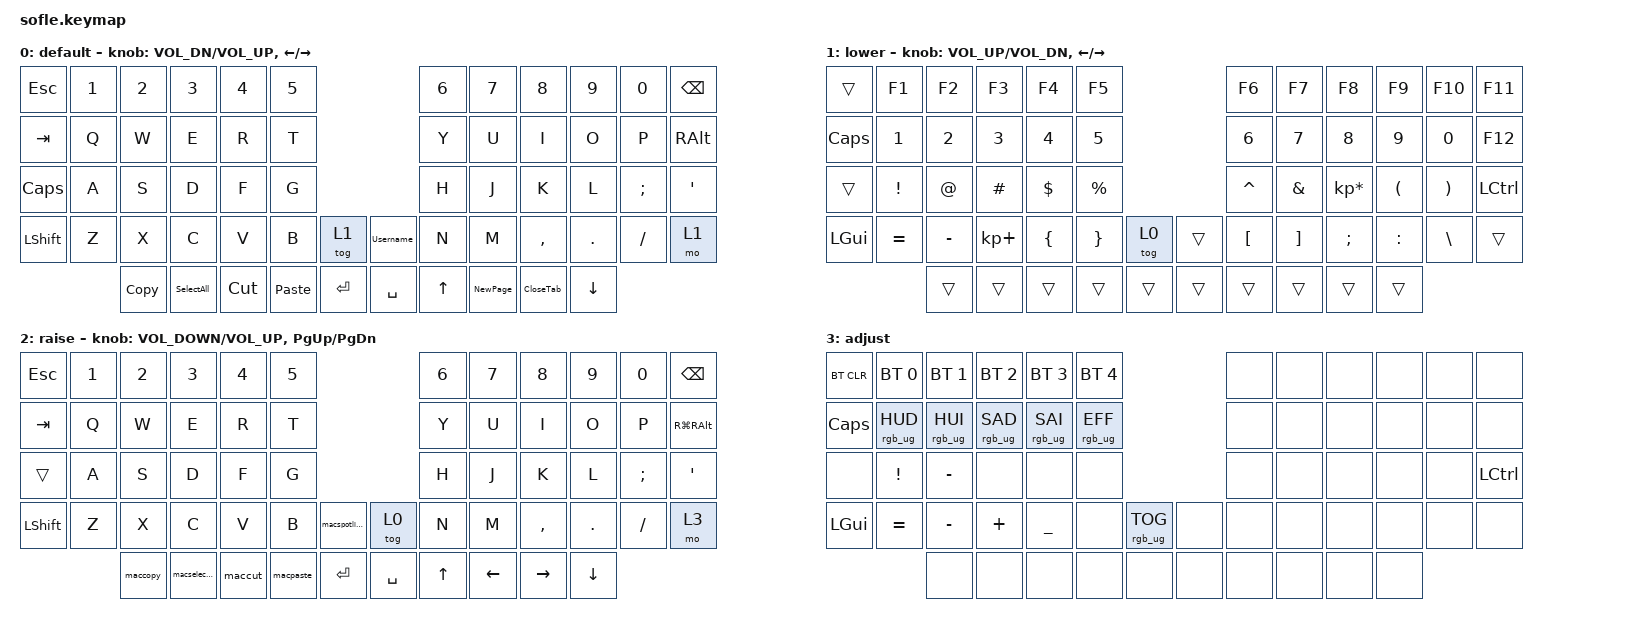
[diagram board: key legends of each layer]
/*
 * Copyright (c) 2020 The ZMK Contributors
 *
 * SPDX-License-Identifier: MIT
 */

#include <behaviors.dtsi>
#include <dt-bindings/zmk/bt.h>
#include <dt-bindings/zmk/keys.h>
#include <dt-bindings/zmk/rgb.h>

#define BASE 0
#define LOWER 1
#define RAISE 2
#define ADJUST 3

/ {
    // Activate ADJUST layer by pressing raise and lower

    conditional_layers { compatible = "zmk,conditional-layers"; };

    macros {
        Copy: Copy {
            compatible = "zmk,behavior-macro";
            #binding-cells = <0>;
            bindings = <&kp LC(C)>;
            label = "COPY";
        };

        Paste: Paste {
            compatible = "zmk,behavior-macro";
            #binding-cells = <0>;
            bindings = <&kp LC(V)>;
            label = "PASTE";
        };

        SelectAll: SelectAll {
            compatible = "zmk,behavior-macro";
            #binding-cells = <0>;
            bindings = <&kp LC(A)>;
            label = "SELECTALL";
        };

        Cut: Cut {
            compatible = "zmk,behavior-macro";
            #binding-cells = <0>;
            bindings = <&kp LC(X)>;
            label = "CUT";
        };

        NewPage: NewPage {
            compatible = "zmk,behavior-macro";
            #binding-cells = <0>;
            bindings = <&kp LC(T)>;
            label = "NEWPAGE";
        };

        CloseTab: CloseTab {
            compatible = "zmk,behavior-macro";
            #binding-cells = <0>;
            bindings = <&kp LC(W)>;
            label = "CLOSETAB";
        };

        Username: Username {
            compatible = "zmk,behavior-macro";
            #binding-cells = <0>;
            bindings = <&none &kp LS(R) &kp Y &kp A &kp N &kp DOT &kp LS(S) &kp O &kp B &kp R &kp A &kp S &kp K &kp E &kp AT &kp LS(F) &kp A &kp I &kp R &kp V &kp I &kp E &kp W &kp DOT &kp O &kp R &kp G>;
            label = "USERNAME";
        };

        maccopy: maccopy {
            compatible = "zmk,behavior-macro";
            #binding-cells = <0>;
            bindings = <&kp RG(C)>;
            label = "MACCOPY";
        };

        macselectall: macselectall {
            compatible = "zmk,behavior-macro";
            #binding-cells = <0>;
            bindings = <&kp LG(A)>;
            label = "MACSELECTALL";
        };

        maccut: maccut {
            compatible = "zmk,behavior-macro";
            #binding-cells = <0>;
            bindings = <&kp LG(X)>;
            label = "MACCUT";
        };

        macpaste: macpaste {
            compatible = "zmk,behavior-macro";
            #binding-cells = <0>;
            bindings = <&kp LG(V)>;
            label = "MACPASTE";
        };

        macspotlight: macspotlight {
            compatible = "zmk,behavior-macro";
            #binding-cells = <0>;
            bindings = <&kp LG(SPACE) &kp SPACE>;
            label = "MACSPOTLIGHT";
        };
    };

    keymap {
        compatible = "zmk,keymap";

        default_layer {
            label = "default";

            // ------------------------------------------------------------------------------------------------------------
            // |   `   |  1  |  2  |  3   |  4   |  5   |                   |  6   |  7    |  8    |  9   |   0   |       |
            // |  ESC  |  Q  |  W  |  E   |  R   |  T   |                   |  Y   |  U    |  I    |  O   |   P   | BKSPC |
            // |  TAB  |  A  |  S  |  D   |  F   |  G   |                   |  H   |  J    |  K    |  L   |   ;   |   '   |
            // | SHIFT |  Z  |  X  |  C   |  V   |  B   |  MUTE  |  |       |  N   |  M    |  ,    |  .   |   /   | SHIFT |
            //               | GUI | ALT  | CTRL | LOWER|  ENTER |  | SPACE | RAISE| CTRL  | ALT   | GUI  |

            bindings = <
&kp ESCAPE    &kp N1  &kp N2  &kp N3      &kp N4  &kp N5                          &kp N6        &kp N7    &kp N8     &kp N9    &kp N0    &kp BACKSPACE
&kp TAB       &kp Q   &kp W   &kp E       &kp R   &kp T                           &kp Y         &kp U     &kp I      &kp O     &kp P     &kp RIGHT_ALT
&kp CAPSLOCK  &kp A   &kp S   &kp D       &kp F   &kp G                           &kp H         &kp J     &kp K      &kp L     &kp SEMI  &kp SQT
&kp LSHFT     &kp Z   &kp X   &kp C       &kp V   &kp B   &tog 1       &Username  &kp N         &kp M     &kp COMMA  &kp DOT   &kp FSLH  &mo 1
                      &Copy   &SelectAll  &Cut    &Paste  &kp ENTER    &kp SPACE  &kp UP_ARROW  &NewPage  &CloseTab  &kp DOWN
            >;

            sensor-bindings =
                <&inc_dec_kp C_VOL_DN C_VOLUME_UP>,
                <&inc_dec_kp LEFT RIGHT>;
        };

        lower_layer {
            label = "lower";

            // TODO: Some binds are waiting for shifted keycode support.
            // ------------------------------------------------------------------------------------------------------------
            // |       |  F1 |  F2 |  F3  |  F4  |  F5  |                   |  F6  |  F7   |  F8   |  F9  |  F10  |  F11  |
            // |   `   |  1  |  2  |  3   |  4   |  5   |                   |  6   |  7    |  8    |  9   |   0   |  F12  |
            // |       |  !  |  @  |  #   |  $   |  %   |                   |  ^   |  &    |  *    |  (   |   )   |   |   |
            // |       |  =  |  -  |  +   |  {   |  }   |        |  |       |  [   |  ]    |  ;    |  :   |   \   |       |
            //               |     |      |      |      |        |  |       |      |       |       |      |

            bindings = <
&trans        &kp F1     &kp F2        &kp F3       &kp F4    &kp F5                       &kp F6     &kp F7    &kp F8           &kp F9     &kp F10   &kp F11
&kp CAPSLOCK  &kp N1     &kp NUMBER_2  &kp N3       &kp N4    &kp N5                       &kp N6     &kp N7    &kp N8           &kp N9     &kp N0    &kp F12
&trans        &kp EXCL   &kp AT        &kp HASH     &kp DLLR  &kp PRCNT                    &kp CARET  &kp AMPS  &kp KP_MULTIPLY  &kp LPAR   &kp RPAR  &kp LEFT_CONTROL
&kp LEFT_GUI  &kp EQUAL  &kp MINUS     &kp KP_PLUS  &kp LBRC  &kp RBRC   &tog 0    &trans  &kp LBKT   &kp RBKT  &kp SEMI         &kp COLON  &kp BSLH  &trans
                         &trans        &trans       &trans    &trans     &trans    &trans  &trans     &trans    &trans           &trans
            >;

            sensor-bindings =
                <&inc_dec_kp C_VOL_UP C_VOL_DN>,
                <&inc_dec_kp LEFT RIGHT>;
        };

        raise_layer {
            label = "raise";

            // ------------------------------------------------------------------------------------------------------------
            // | BTCLR | BT1  | BT2  |  BT3  |  BT4  |  BT5 |                |      |      |       |      |       |       |
            // |       | INS  | PSCR | GUI   |       |      |                | PGUP |      |   ^   |      |       |       |
            // |       | ALT  | CTRL | SHIFT |       | CAPS |                | PGDN |   <- |   v   |  ->  |  DEL  | BKSPC |
            // |       | UNDO | CUT  | COPY  | PASTE |      |      |  |      |      |      |       |      |       |       |
            //                |      |       |       |      |      |  |      |      |      |       |      |

            bindings = <
&kp ESCAPE      &kp NUMBER_1  &kp NUMBER_2  &kp NUMBER_3   &kp NUMBER_4  &kp N5                                 &kp NUMBER_6  &kp N7          &kp N8           &kp N9          &kp N0         &kp BACKSPACE
&kp TAB         &kp Q         &kp W         &kp E          &kp R         &kp T                                  &kp Y         &kp U           &kp I            &kp O           &kp P          &kp RG(RIGHT_ALT)
&trans          &kp A         &kp S         &kp D          &kp F         &kp G                                  &kp H         &kp J           &kp K            &kp L           &kp SEMICOLON  &kp SQT
&kp LEFT_SHIFT  &kp Z         &kp X         &kp C          &kp V         &kp B      &macspotlight    &tog 0     &kp N         &kp M           &kp COMMA        &kp PERIOD      &kp SLASH      &mo 3
                              &maccopy      &macselectall  &maccut       &macpaste  &kp ENTER        &kp SPACE  &kp UP_ARROW  &kp LEFT_ARROW  &kp RIGHT_ARROW  &kp DOWN_ARROW
            >;

            sensor-bindings =
                <&inc_dec_kp C_VOLUME_DOWN C_VOLUME_UP>,
                <&inc_dec_kp PG_UP PG_DN>;
        };

        adjust_layer {
            // ----------------------------------------------------------------------------------------------------------------------------
            // | BTCLR  |  BT1    |  BT2    |   BT3   |   BT4   |   BT5   |                  |      |      |       |      |       |       |
            // | EXTPWR | RGB_HUD | RGB_HUI | RGB_SAD | RGB_SAI | RGB_EFF |                  |      |      |       |      |       |       |
            // |        | RGB_BRD | RGB_BRI |         |         |         |                  |      |      |       |      |       |       |
            // |        |         |         |         |         |         | RGB_TOG | |      |      |      |       |      |       |       |
            //                    |         |         |         |         |         | |      |      |      |       |      |

            label = "adjust";
            bindings = <
&bt BT_CLR    &bt BT_SEL 0     &bt BT_SEL 1     &bt BT_SEL 2     &bt BT_SEL 3     &bt BT_SEL 4                               &none  &none  &none  &none  &none  &none
&kp CAPSLOCK  &rgb_ug RGB_HUD  &rgb_ug RGB_HUI  &rgb_ug RGB_SAD  &rgb_ug RGB_SAI  &rgb_ug RGB_EFF                            &none  &none  &none  &none  &none  &none
&none         &kp EXCLAMATION  &kp MINUS        &none            &none            &none                                      &none  &none  &none  &none  &none  &kp LEFT_CONTROL
&kp LEFT_GUI  &kp EQUAL        &kp MINUS        &kp PLUS         &kp UNDER        &none            &rgb_ug RGB_TOG    &none  &none  &none  &none  &none  &none  &none
                               &none            &none            &none            &none            &none              &none  &none  &none  &none  &none
            >;
        };
    };
};
